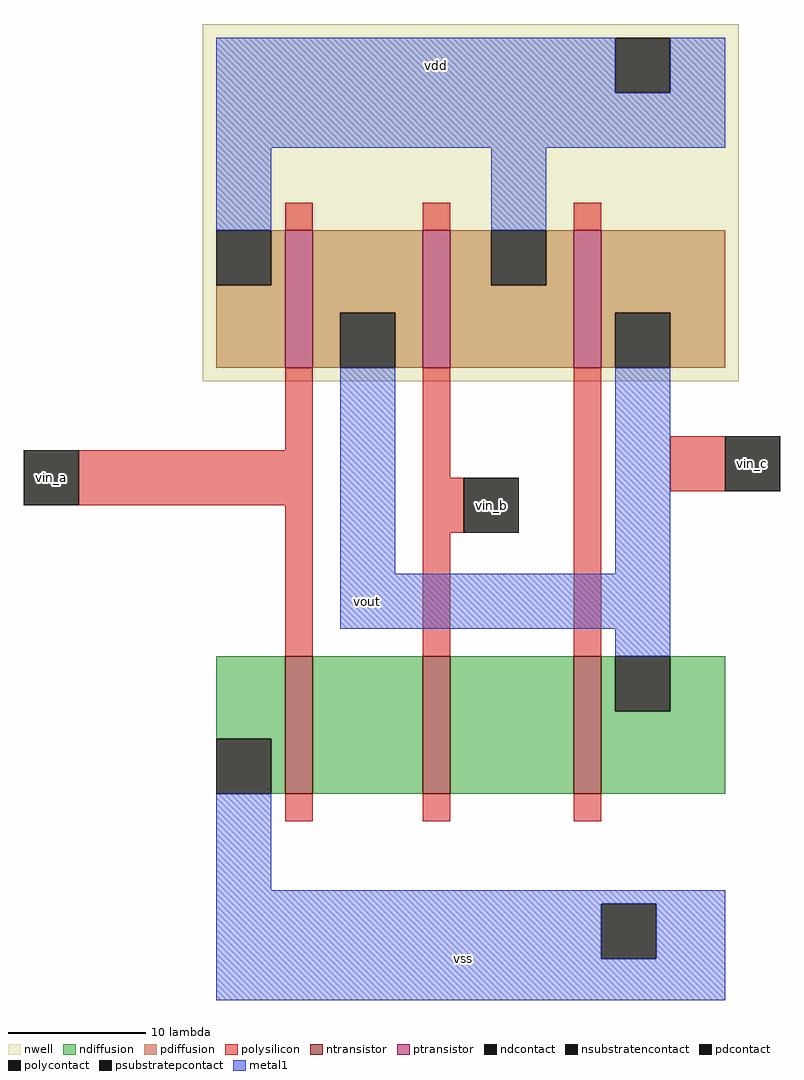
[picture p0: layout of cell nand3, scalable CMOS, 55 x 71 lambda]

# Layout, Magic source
magic
tech scmos
<< nwell >>
rect -13 12 26 38
<< polysilicon >>
rect -7 23 -5 25
rect 3 23 5 25
rect 14 23 16 25
rect -7 7 -5 13
rect -22 3 -5 7
rect -7 -8 -5 3
rect 3 5 5 13
rect 3 1 6 5
rect 3 -8 5 1
rect 14 -8 16 13
rect 21 4 25 8
rect -7 -20 -5 -18
rect 3 -20 5 -18
rect 14 -20 16 -18
<< ndiffusion >>
rect -12 -14 -7 -8
rect -8 -18 -7 -14
rect -5 -18 3 -8
rect 5 -18 14 -8
rect 16 -12 17 -8
rect 21 -12 25 -8
rect 16 -18 25 -12
<< pdiffusion >>
rect -8 19 -7 23
rect -12 13 -7 19
rect -5 17 3 23
rect -5 13 -3 17
rect 1 13 3 17
rect 5 19 8 23
rect 12 19 14 23
rect 5 13 14 19
rect 16 17 25 23
rect 16 13 17 17
rect 21 13 25 17
<< metal1 >>
rect -12 33 17 37
rect 21 33 25 37
rect -12 29 25 33
rect -12 23 -8 29
rect 8 23 12 29
rect -3 -2 1 13
rect 17 -2 21 13
rect -3 -6 21 -2
rect 17 -8 21 -6
rect -12 -25 -8 -18
rect -12 -26 25 -25
rect -12 -30 16 -26
rect 20 -30 25 -26
rect -12 -33 25 -30
<< ntransistor >>
rect -7 -18 -5 -8
rect 3 -18 5 -8
rect 14 -18 16 -8
<< ptransistor >>
rect -7 13 -5 23
rect 3 13 5 23
rect 14 13 16 23
<< polycontact >>
rect -26 3 -22 7
rect 6 1 10 5
rect 25 4 29 8
<< ndcontact >>
rect -12 -18 -8 -14
rect 17 -12 21 -8
<< pdcontact >>
rect -12 19 -8 23
rect -3 13 1 17
rect 8 19 12 23
rect 17 13 21 17
<< psubstratepcontact >>
rect 16 -30 20 -26
<< nsubstratencontact >>
rect 17 33 21 37
<< labels >>
rlabel metal1 2 33 6 37 1 vdd
rlabel polycontact 6 1 10 5 3 vin_b
rlabel polycontact 25 4 29 8 3 vin_c
rlabel metal1 4 -32 8 -28 5 vss
rlabel metal1 -3 -6 1 -2 7 vout
rlabel polycontact -26 3 -22 7 7 vin_a
<< end >>
